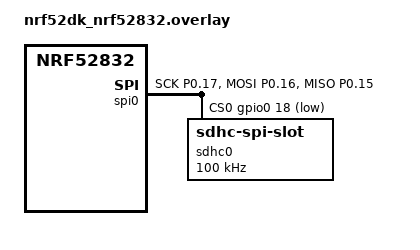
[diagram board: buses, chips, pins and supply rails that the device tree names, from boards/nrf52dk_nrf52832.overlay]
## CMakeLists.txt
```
# SPDX-License-Identifier: Apache-2.0

cmake_minimum_required(VERSION 3.20.0)

find_package(Zephyr REQUIRED HINTS $ENV{ZEPHYR_BASE})
project(sd_card_omi)

# Add source files
target_sources(app PRIVATE
    src/main.c
    src/sd_card.c
)

# Include directories
target_include_directories(app PRIVATE
    src
)
```

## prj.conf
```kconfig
# Logging Configuration
CONFIG_LOG=y
CONFIG_LOG_DEFAULT_LEVEL=3
CONFIG_LOG_BACKEND_UART=y

# Console and Shell Configuration
CONFIG_CONSOLE=y
CONFIG_UART_CONSOLE=y
CONFIG_SHELL=y
CONFIG_KERNEL_SHELL=y

# SPI Configuration for SD Card
CONFIG_SPI=y
CONFIG_SPI_NRFX=y
CONFIG_SOC_NRF52832_ALLOW_SPIM_DESPITE_PAN_58=y

# GPIO Configuration
CONFIG_GPIO=y
CONFIG_GPIO_NRFX=y

# Disk Access and SD Card Support
CONFIG_DISK_ACCESS=y
CONFIG_DISK_DRIVER_SDMMC=y

# FAT Filesystem Configuration
CONFIG_FAT_FILESYSTEM_ELM=y
CONFIG_FS_FATFS_LFN=y
CONFIG_FS_FATFS_MAX_LFN=255
CONFIG_FILE_SYSTEM=y
CONFIG_FILE_SYSTEM_SHELL=y

# SDHC Configuration
CONFIG_SDHC=y

# Memory Configuration
CONFIG_HEAP_MEM_POOL_SIZE=8192
CONFIG_MAIN_STACK_SIZE=2048

# Sample Configuration
CONFIG_FS_SAMPLE_CREATE_SOME_ENTRIES=y
```

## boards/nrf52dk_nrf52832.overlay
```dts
/*
 * Device Tree Overlay for nRF52832 with Generic MicroSD Module
 * Ultra-conservative configuration to avoid PAN 58 issues
 * 
 * nRF52832 uses:
 * - SPI0 with ultra-low frequency
 * - CS pin (P0.18) controls SD card enable/disable
 */

/* SPI0 Configuration for Generic MicroSD Module - nRF52832 Configuration */
&spi0 {
    compatible = "nordic,nrf-spim";
    status = "okay";
    pinctrl-0 = <&spi0_default>;
    pinctrl-1 = <&spi0_sleep>;
    pinctrl-names = "default", "sleep";
    cs-gpios = <&gpio0 18 GPIO_ACTIVE_LOW>;  /* P0.18 - CS pin */

    /* SD Card SPI Device - nRF52832 Configuration */
    sdhc0: sdhc@0 {
        compatible = "zephyr,sdhc-spi-slot";
        reg = <0>;
        status = "okay";
        spi-max-frequency = <100000>;         /* 100kHz SPI frequency - ultra-conservative for nRF52832 */
        
        /* SD Card Disk */
        mmc {
            compatible = "zephyr,sdmmc-disk";
            disk-name = "SD";
            status = "okay";
        };
    };
};

/* Pin Control Configuration - nRF52832 SPI0 Configuration */
&pinctrl {
    /* SPI0 Default Configuration - nRF52832 pins */
    spi0_default: spi0_default {
        group1 {
            psels = <NRF_PSEL(SPIM_SCK, 0, 17)>,    /* P0.17 (SCK) */
                    <NRF_PSEL(SPIM_MOSI, 0, 16)>,   /* P0.16 (MOSI) */
                    <NRF_PSEL(SPIM_MISO, 0, 15)>;   /* P0.15 (MISO) */
        };
    };

    /* SPI0 Sleep Configuration - nRF52832 pins */
    spi0_sleep: spi0_sleep {
        group1 {
            psels = <NRF_PSEL(SPIM_SCK, 0, 17)>,
                    <NRF_PSEL(SPIM_MOSI, 0, 16)>,
                    <NRF_PSEL(SPIM_MISO, 0, 15)>;
            low-power-enable;
        };
    };
};
```

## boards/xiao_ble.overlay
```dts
/*
 * Device Tree Overlay for XIAO BLE with Generic MicroSD Module
 * XIAO BLE Hardware Configuration - Only Real Connections
 * 
 * XIAO BLE uses:
 * - SPI0 for SD card communication
 * - CS pin (P0.06) controls SD card enable/disable automatically
 * - No separate enable pin needed (SD modules don't have enable pins)
 */

/* SPI0 Configuration for Generic MicroSD Module - XIAO BLE Configuration */
&spi0 {
    compatible = "nordic,nrf-spim";
    status = "okay";
    pinctrl-0 = <&spi0_default>;
    pinctrl-1 = <&spi0_sleep>;
    pinctrl-names = "default", "sleep";
    cs-gpios = <&gpio0 6 GPIO_ACTIVE_LOW>;  /* P0.06 (A6) - CS pin controls enable/disable */

    /* SD Card SPI Device - XIAO BLE Configuration */
    sdhc0: sdhc@0 {
        compatible = "zephyr,sdhc-spi-slot";
        reg = <0>;
        status = "okay";
        spi-max-frequency = <24000000>;       /* 24MHz SPI frequency */
        
        /* SD Card Disk */
        mmc {
            compatible = "zephyr,sdmmc-disk";
            disk-name = "SD";
            status = "okay";
        };
    };
};

/* Pin Control Configuration - XIAO BLE SPI0 Configuration */
&pinctrl {
    /* SPI0 Default Configuration - XIAO BLE pins */
    spi0_default: spi0_default {
        group1 {
            psels = <NRF_PSEL(SPIM_SCK, 0, 27)>,    /* P0.27 (SCK) */
                    <NRF_PSEL(SPIM_MOSI, 0, 26)>,   /* P0.26 (MOSI) */
                    <NRF_PSEL(SPIM_MISO, 0, 25)>;   /* P0.25 (MISO) */
        };
    };

    /* SPI0 Sleep Configuration - XIAO BLE pins */
    spi0_sleep: spi0_sleep {
        group1 {
            psels = <NRF_PSEL(SPIM_SCK, 0, 27)>,
                    <NRF_PSEL(SPIM_MOSI, 0, 26)>,
                    <NRF_PSEL(SPIM_MISO, 0, 25)>;
            low-power-enable;
        };
    };
};
```

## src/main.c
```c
/*
 * SD Card Application for OMI Triangle v2
 * XIAO BLE (nRF52840) with Generic MicroSD Module
 *
 * This application demonstrates SD card functionality for the OMI Triangle v2
 * hardware adaptation, replacing the original Adafruit SD card with a generic
 * MicroSD module while maintaining all original OMI functionalities.
 */

#include <zephyr/kernel.h>
#include <zephyr/logging/log.h>
#include <zephyr/shell/shell.h>
#include <string.h>
#include <stdio.h>

#include "sd_card.h"

LOG_MODULE_REGISTER(main, CONFIG_LOG_DEFAULT_LEVEL);

/* Test data for file operations */
static const char *test_files[] = {
    "omi_config.txt",
    "audio_sample.wav",
    "transcription.txt",
    "system_log.txt"
};

static const char *test_contents[] = {
    "OMI Triangle v2 Configuration\nVersion: 2.0\nSD Card: Generic MicroSD\nAudio: PAM8403 PWM",
    "WAV audio sample data for testing PAM8403 amplifier",
    "Transcribed conversation data from OMI microphone",
    "System log entries for debugging and monitoring"
};

/* Shell Commands */

static int cmd_sd_init(const struct shell *shell, size_t argc, const char **argv)
{
    ARG_UNUSED(argc);
    ARG_UNUSED(argv);
    
    int ret = sd_card_start();
    if (ret == 0) {
        shell_print(shell, "SD card initialized and mounted successfully");
    } else {
        shell_error(shell, "SD card initialization failed: %d", ret);
    }
    return ret;
}

static int cmd_sd_stop(const struct shell *shell, size_t argc, const char **argv)
{
    ARG_UNUSED(argc);
    ARG_UNUSED(argv);
    
    int ret = sd_card_stop();
    if (ret == 0) {
        shell_print(shell, "SD card stopped successfully");
    } else {
        shell_error(shell, "SD card stop failed: %d", ret);
    }
    return ret;
}

static int cmd_sd_status(const struct shell *shell, size_t argc, const char **argv)
{
    ARG_UNUSED(argc);
    ARG_UNUSED(argv);
    
    sd_card_state_t state = sd_card_get_state();
    const char *state_str;
    
    switch (state) {
        case SD_CARD_UNINITIALIZED:
            state_str = "UNINITIALIZED";
            break;
        case SD_CARD_INITIALIZED:
            state_str = "INITIALIZED";
            break;
        case SD_CARD_MOUNTED:
            state_str = "MOUNTED";
            break;
        case SD_CARD_ERROR:
            state_str = "ERROR";
            break;
        default:
            state_str = "UNKNOWN";
			break;
		}

    shell_print(shell, "SD Card State: %s", state_str);
    return 0;
}

static int cmd_sd_info(const struct shell *shell, size_t argc, const char **argv)
{
    ARG_UNUSED(argc);
    ARG_UNUSED(argv);
    
    uint64_t total_size_mb;
    uint32_t free_space_mb;
    
    int ret = sd_card_get_info(&total_size_mb, &free_space_mb);
    if (ret == 0) {
        shell_print(shell, "SD Card Information:");
        shell_print(shell, "  Total Size: %u MB", (uint32_t)total_size_mb);
        shell_print(shell, "  Free Space: %u MB", free_space_mb);
    } else {
        shell_error(shell, "Failed to get SD card info: %d", ret);
    }
    return ret;
}

static int cmd_sd_list(const struct shell *shell, size_t argc, const char **argv)
{
    ARG_UNUSED(argc);
    ARG_UNUSED(argv);
    
    shell_print(shell, "Listing SD card contents:");
    int ret = sd_card_list_files("/SD:");
    if (ret >= 0) {
        shell_print(shell, "Found %d entries", ret);
    } else {
        shell_error(shell, "Failed to list files: %d", ret);
    }
    return ret;
}

static int cmd_sd_test(const struct shell *shell, size_t argc, const char **argv)
{
    ARG_UNUSED(argc);
    ARG_UNUSED(argv);
    
    shell_print(shell, "Running SD card comprehensive tests...");
    int ret = sd_card_run_tests();
    if (ret == 0) {
        shell_print(shell, "All SD card tests passed!");
    } else {
        shell_error(shell, "SD card tests failed: %d", ret);
    }
    return ret;
}

static int cmd_sd_create(const struct shell *shell, size_t argc, const char **argv)
{
    if (argc != 3) {
        shell_error(shell, "Usage: sd_create <filename> <content>");
        return -EINVAL;
    }
    
    const char *filename = argv[1];
    const char *content = argv[2];
    
    int ret = sd_card_create_file(filename, content);
    if (ret == 0) {
        shell_print(shell, "File '%s' created successfully", filename);
    } else {
        shell_error(shell, "Failed to create file '%s': %d", filename, ret);
    }
    return ret;
}

static int cmd_sd_read(const struct shell *shell, size_t argc, const char **argv)
{
    if (argc != 2) {
        shell_error(shell, "Usage: sd_read <filename>");
        return -EINVAL;
    }
    
    const char *filename = argv[1];
    char buffer[512];
    
    int ret = sd_card_read_file(filename, buffer, sizeof(buffer));
    if (ret >= 0) {
        shell_print(shell, "File '%s' content (%d bytes):", filename, ret);
        shell_print(shell, "%s", buffer);
    } else {
        shell_error(shell, "Failed to read file '%s': %d", filename, ret);
    }
    return ret;
}

static int cmd_sd_delete(const struct shell *shell, size_t argc, const char **argv)
{
    if (argc != 2) {
        shell_error(shell, "Usage: sd_delete <filename>");
        return -EINVAL;
    }
    
    const char *filename = argv[1];
    
    int ret = sd_card_delete_file(filename);
    if (ret == 0) {
        shell_print(shell, "File '%s' deleted successfully", filename);
    } else {
        shell_error(shell, "Failed to delete file '%s': %d", filename, ret);
    }
    return ret;
}

static int cmd_sd_demo(const struct shell *shell, size_t argc, const char **argv)
{
    ARG_UNUSED(argc);
    ARG_UNUSED(argv);
    
    shell_print(shell, "Running SD card demo...");
    
    // Create test files
    for (int i = 0; i < 4; i++) {
        int ret = sd_card_create_file(test_files[i], test_contents[i]);
        if (ret == 0) {
            shell_print(shell, "Created file: %s", test_files[i]);
        } else {
            shell_error(shell, "Failed to create file %s: %d", test_files[i], ret);
        }
    }
    
    // List files
    shell_print(shell, "Listing files after creation:");
    sd_card_list_files("/SD:");
    
    // Read one file
    char buffer[256];
    int ret = sd_card_read_file(test_files[0], buffer, sizeof(buffer));
    if (ret >= 0) {
        shell_print(shell, "Read file %s (%d bytes):", test_files[0], ret);
        shell_print(shell, "%s", buffer);
    }
    
    shell_print(shell, "SD card demo completed");
    return 0;
}

/* Shell Command Registration */
SHELL_STATIC_SUBCMD_SET_CREATE(sd_cmd,
    SHELL_CMD(init, NULL, "Initialize and mount SD card", cmd_sd_init),
    SHELL_CMD(stop, NULL, "Stop and unmount SD card", cmd_sd_stop),
    SHELL_CMD(status, NULL, "Get SD card status", cmd_sd_status),
    SHELL_CMD(info, NULL, "Get SD card information", cmd_sd_info),
    SHELL_CMD(list, NULL, "List files on SD card", cmd_sd_list),
    SHELL_CMD(test, NULL, "Run comprehensive SD card tests", cmd_sd_test),
    SHELL_CMD(create, NULL, "Create a file with content", cmd_sd_create),
    SHELL_CMD(read, NULL, "Read file content", cmd_sd_read),
    SHELL_CMD(delete, NULL, "Delete a file", cmd_sd_delete),
    SHELL_CMD(demo, NULL, "Run SD card demo", cmd_sd_demo),
    SHELL_SUBCMD_SET_END
);

SHELL_CMD_REGISTER(sd, &sd_cmd, "SD card commands", NULL);

/* Main Application */
int main(void)
{
    LOG_INF("SD Card Application for OMI Triangle v2");
    LOG_INF("XIAO BLE (nRF52840) with Generic MicroSD Module");
    LOG_INF("Initializing...");

    /* Initialize SD card */
    int ret = sd_card_start();
    if (ret != 0) {
        LOG_ERR("Failed to initialize SD card: %d", ret);
        LOG_ERR("Please check hardware connections and try again");
        LOG_ERR("Use 'sd init' command to retry initialization");
    } else {
        LOG_INF("SD card initialized successfully");
        
        /* Run initial tests */
        LOG_INF("Running initial SD card tests...");
        ret = sd_card_run_tests();
        if (ret == 0) {
            LOG_INF("SD card tests passed - system ready");
		} else {
            LOG_WRN("SD card tests failed: %d", ret);
        }
    }

    LOG_INF("SD Card Application started");
    LOG_INF("Available commands:");
    LOG_INF("  sd init    - Initialize SD card");
    LOG_INF("  sd status  - Get SD card status");
    LOG_INF("  sd info    - Get SD card information");
    LOG_INF("  sd list    - List files");
    LOG_INF("  sd test    - Run comprehensive tests");
    LOG_INF("  sd demo    - Run demonstration");
    LOG_INF("  sd create  - Create a file");
    LOG_INF("  sd read    - Read a file");
    LOG_INF("  sd delete  - Delete a file");
    LOG_INF("  sd stop    - Stop SD card");

    /* Main loop */
    while (1) {
        k_sleep(K_MSEC(5000));
        
        /* Periodic status check */
        sd_card_state_t state = sd_card_get_state();
        if (state == SD_CARD_ERROR) {
            LOG_WRN("SD card in error state - use 'sd init' to retry");
        }
    }

    return 0;
}
```

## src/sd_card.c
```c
/*
 * Enhanced SD Card Driver for OMI Triangle v2
 * Based on OMI's implementation with improved reliability and testing
 * Uses only real connections: SPI0 + CS pin (P0.06) - no separate enable pin needed
 */

#include <ff.h>
#include <zephyr/kernel.h>
#include <zephyr/device.h>
#include <zephyr/storage/disk_access.h>
#include <zephyr/logging/log.h>
#include <zephyr/fs/fs.h>
#include <zephyr/drivers/gpio.h>
#include <string.h>
#include <stdio.h>

LOG_MODULE_REGISTER(sd_card, CONFIG_LOG_DEFAULT_LEVEL);

/* SD Card Configuration - OMI Compatible */
#define SD_DISK_NAME "SD"
#define SD_MOUNT_PT "/SD:"
#define AUDIO_DIR "/SD:/audio"
#define MAX_PATH 128
#define MAX_FILE_SIZE 1024*1024  // 1MB max file size

/* OMI Audio File Configuration */
#define MAX_AUDIO_FILES 99
#define AUDIO_FILE_PREFIX "a"
#define AUDIO_FILE_EXTENSION ".txt"
#define AUDIO_FILE_NAME_LEN 8  // "a01.txt" = 7 chars + null

/* SD Card States */
typedef enum {
    SD_CARD_UNINITIALIZED,
    SD_CARD_INITIALIZED,
    SD_CARD_MOUNTED,
    SD_CARD_ERROR
} sd_card_state_t;

static sd_card_state_t sd_card_state = SD_CARD_UNINITIALIZED;
static struct fs_mount_t mp;
static FATFS fat_fs;

/* OMI Audio File Management */
static uint8_t file_count = 0;
static uint8_t current_read_file = 1;
static uint8_t current_write_file = 1;
static uint32_t file_num_array[2];

/* File Path Buffers */
static char current_full_path[MAX_PATH];
static char read_buffer[MAX_PATH];
static char write_buffer[MAX_PATH];

/* Function Declarations */
static int sd_card_init(void);
static int sd_card_mount(void);
static int sd_card_unmount(void);
static int sd_card_test_read_write(void);
int sd_card_list_files(const char *path);
int sd_card_create_file(const char *filename, const char *content);
int sd_card_read_file(const char *filename, char *buffer, size_t buffer_size);
int sd_card_delete_file(const char *filename);
int sd_card_get_info(uint64_t *total_size_mb, uint32_t *free_space_mb);

/* OMI Audio File Functions */
static char* generate_new_audio_header(uint8_t num);
static int get_file_contents(struct fs_dir_t *zdp, struct fs_dirent *entry);
static int initialize_audio_file(uint8_t num);
static int move_read_pointer(uint8_t num);
static int move_write_pointer(uint8_t num);
static int clear_audio_file(uint8_t num);
static int delete_audio_file(uint8_t num);
static int clear_audio_directory(void);
static int save_offset(uint32_t offset);
static int get_offset(void);

/**
 * @brief Initialize SD card with OMI's approach
 * @return 0 on success, negative error code on failure
 */
static int sd_card_init(void)
{
    int ret;
    const char *disk_pdrv = SD_DISK_NAME;
    uint64_t memory_size_mb;
    uint32_t block_count;
    uint32_t block_size;

    LOG_INF("Initializing SD card (OMI compatible)...");

    /* Initialize disk access (OMI's approach with retry) */
    ret = disk_access_init(disk_pdrv);
    if (ret != 0) {
        LOG_ERR("SD card init failed: %d", ret);
        /* OMI retry approach */
        k_msleep(1000);
        ret = disk_access_init(disk_pdrv);
        if (ret != 0) {
            LOG_ERR("SD card init retry failed: %d", ret);
            sd_card_state = SD_CARD_ERROR;
            return ret;
        }
    }

    /* Get disk information */
    ret = disk_access_ioctl(disk_pdrv, DISK_IOCTL_GET_SECTOR_COUNT, &block_count);
    if (ret != 0) {
        LOG_ERR("Failed to get sector count: %d", ret);
        return ret;
    }

    ret = disk_access_ioctl(disk_pdrv, DISK_IOCTL_GET_SECTOR_SIZE, &block_size);
    if (ret != 0) {
        LOG_ERR("Failed to get sector size: %d", ret);
        return ret;
    }

    memory_size_mb = (uint64_t)block_count * block_size;
    LOG_INF("SD Card Info:");
    LOG_INF("  Block count: %u", block_count);
    LOG_INF("  Block size: %u bytes", block_size);
    LOG_INF("  Total size: %u MB", (uint32_t)(memory_size_mb >> 20));

    sd_card_state = SD_CARD_INITIALIZED;
    LOG_INF("SD card initialized successfully");
    return 0;
}

/**
 * @brief Mount SD card filesystem (OMI compatible)
 * @return 0 on success, negative error code on failure
 */
static int sd_card_mount(void)
{
    int ret;

    if (sd_card_state != SD_CARD_INITIALIZED) {
        LOG_ERR("SD card not initialized");
        return -ENODEV;
    }

    LOG_INF("Mounting SD card filesystem...");

    /* Configure mount point (OMI's approach) */
    mp.type = FS_FATFS;
    mp.fs_data = &fat_fs;
    mp.mnt_point = SD_MOUNT_PT;

    /* Mount filesystem */
    ret = fs_mount(&mp);
    if (ret != 0) {
        LOG_ERR("Failed to mount SD card: %d", ret);
        sd_card_state = SD_CARD_ERROR;
        return ret;
    }

    sd_card_state = SD_CARD_MOUNTED;
    LOG_INF("SD card mounted successfully at %s", SD_MOUNT_PT);

    /* Create audio directory (OMI's approach) */
    ret = fs_mkdir(AUDIO_DIR);
    if (ret == 0) {
        LOG_INF("Audio directory created successfully");
        initialize_audio_file(1);
    } else if (ret == -EEXIST) {
        LOG_INF("Audio directory already exists");
    } else {
        LOG_INF("Audio directory creation failed: %d", ret);
    }

    /* Initialize file management (OMI's approach) */
    struct fs_dir_t audio_dir_entry;
    fs_dir_t_init(&audio_dir_entry);
    ret = fs_opendir(&audio_dir_entry, AUDIO_DIR);
    if (ret != 0) {
        LOG_ERR("Error opening audio directory: %d", ret);
        return ret;
    }

    struct fs_dirent file_count_entry;
    file_count = get_file_contents(&audio_dir_entry, &file_count_entry);
    file_count = 1;  // OMI default
    if (file_count < 0) {
        LOG_ERR("Error getting file count");
        return -1;
    }

    fs_closedir(&audio_dir_entry);
    LOG_INF("Audio files found: %d", file_count);

    /* Set initial pointers (OMI's approach) */
    ret = move_write_pointer(file_count);
    if (ret != 0) {
        LOG_ERR("Error moving write pointer");
        return ret;
    }

    move_read_pointer(file_count);

    return 0;
}

/**
 * @brief Unmount SD card filesystem
 * @return 0 on success, negative error code on failure
 */
static int sd_card_unmount(void)
{
    int ret;

    if (sd_card_state != SD_CARD_MOUNTED) {
        LOG_WRN("SD card not mounted");
        return 0;
    }

    LOG_INF("Unmounting SD card filesystem...");

    ret = fs_unmount(&mp);
    if (ret != 0) {
        LOG_ERR("Failed to unmount SD card: %d", ret);
        return ret;
    }

    sd_card_state = SD_CARD_INITIALIZED;
    LOG_INF("SD card unmounted successfully");
    return 0;
}

/**
 * @brief Generate audio file header (OMI's approach)
 * @param num File number
 * @return Pointer to generated header string (must be freed by caller)
 */
static char* generate_new_audio_header(uint8_t num)
{
    if (num > 99) return NULL;
    char *ptr_ = k_malloc(14);
    ptr_[0] = 'a';
    ptr_[1] = 'u';
    ptr_[2] = 'd';
    ptr_[3] = 'i';
    ptr_[4] = 'o';
    ptr_[5] = '/';
    ptr_[6] = 'a';
    ptr_[7] = 48 + (num / 10);
    ptr_[8] = 48 + (num % 10);
    ptr_[9] = '.';
    ptr_[10] = 't';
    ptr_[11] = 'x';
    ptr_[12] = 't';
    ptr_[13] = '\0';

    return ptr_;
}



/**
 * @brief Get file contents count (OMI's approach)
 * @param dirp Directory pointer
 * @param entry Directory entry
 * @return Number of files
 */
static int get_file_contents(struct fs_dir_t *zdp, struct fs_dirent *entry)
{
    int ret = fs_readdir(zdp, entry);
    if (ret != 0) {
        return -1;
    }
    if (entry->name[0] == 0) {
        return 0;
    }
    int count = 0;  
    file_num_array[count] = entry->size;
    LOG_INF("file numarray %d %d ", count, file_num_array[count]);
    LOG_INF("file name is %s ", entry->name);
    count++;
    while (fs_readdir(zdp, entry) == 0) {
        if (entry->name[0] == 0) {
            break;
        }
        file_num_array[count] = entry->size;
        LOG_INF("file numarray %d %d ", count, file_num_array[count]);
        LOG_INF("file name is %s ", entry->name);
        count++;
    }
    return count;
}

/* Standard SD Card Functions */
int sd_card_list_files(const char *path)
{
    int ret;
    struct fs_dir_t dirp;
    static struct fs_dirent entry;
    int count = 0;

    if (sd_card_state != SD_CARD_MOUNTED) {
        LOG_ERR("SD card not mounted");
        return -ENODEV;
    }

    fs_dir_t_init(&dirp);

    ret = fs_opendir(&dirp, path);
    if (ret != 0) {
        LOG_ERR("Failed to open directory %s: %d", path, ret);
        return ret;
    }

    LOG_INF("Listing directory: %s", path);
    for (;;) {
        ret = fs_readdir(&dirp, &entry);
        if (ret != 0 || entry.name[0] == 0) {
            break;
        }

        if (entry.type == FS_DIR_ENTRY_DIR) {
            LOG_INF("[DIR ] %s", entry.name);
        } else {
            LOG_INF("[FILE] %s (size = %zu bytes)", entry.name, entry.size);
        }
        count++;
    }

    fs_closedir(&dirp);
    LOG_INF("Total entries: %d", count);
    return count;
}

int sd_card_create_file(const char *filename, const char *content)
{
    int ret;
    struct fs_file_t file;
    char filepath[MAX_PATH];

    if (sd_card_state != SD_CARD_MOUNTED) {
        LOG_ERR("SD card not mounted");
        return -ENODEV;
    }

    snprintf(filepath, sizeof(filepath), "%s/%s", SD_MOUNT_PT, filename);
    fs_file_t_init(&file);

    ret = fs_open(&file, filepath, FS_O_CREATE | FS_O_WRITE);
    if (ret != 0) {
        LOG_ERR("Failed to create file %s: %d", filepath, ret);
        return ret;
    }

    if (content != NULL) {
        ret = fs_write(&file, content, strlen(content));
        if (ret < 0) {
            LOG_ERR("Failed to write to file %s: %d", filepath, ret);
            fs_close(&file);
            return ret;
        }
        LOG_INF("Wrote %d bytes to file %s", ret, filename);
    }

    fs_close(&file);
    LOG_INF("File %s created successfully", filename);
    return 0;
}

int sd_card_read_file(const char *filename, char *buffer, size_t buffer_size)
{
    int ret;
    struct fs_file_t file;
    char filepath[MAX_PATH];

    if (sd_card_state != SD_CARD_MOUNTED) {
        LOG_ERR("SD card not mounted");
        return -ENODEV;
    }

    snprintf(filepath, sizeof(filepath), "%s/%s", SD_MOUNT_PT, filename);
    fs_file_t_init(&file);

    ret = fs_open(&file, filepath, FS_O_READ);
    if (ret != 0) {
        LOG_ERR("Failed to open file %s: %d", filepath, ret);
        return ret;
    }

    ret = fs_read(&file, buffer, buffer_size - 1);
    if (ret < 0) {
        LOG_ERR("Failed to read file %s: %d", filepath, ret);
        fs_close(&file);
        return ret;
    }

    buffer[ret] = '\0';  // Null terminate
    fs_close(&file);
    LOG_INF("Read %d bytes from file %s", ret, filename);
    return ret;
}



int sd_card_delete_file(const char *filename)
{
    int ret;
    char filepath[MAX_PATH];

    if (sd_card_state != SD_CARD_MOUNTED) {
        LOG_ERR("SD card not mounted");
        return -ENODEV;
    }

    snprintf(filepath, sizeof(filepath), "%s/%s", SD_MOUNT_PT, filename);

    ret = fs_unlink(filepath);
    if (ret != 0) {
        LOG_ERR("Failed to delete file %s: %d", filepath, ret);
        return ret;
    }

    LOG_INF("File %s deleted successfully", filename);
    return 0;
}

int sd_card_get_info(uint64_t *total_size_mb, uint32_t *free_space_mb)
{
    int ret;
    const char *disk_pdrv = SD_DISK_NAME;
    uint64_t memory_size_mb;
    uint32_t block_count;
    uint32_t block_size;

    if (sd_card_state == SD_CARD_UNINITIALIZED) {
        LOG_ERR("SD card not initialized");
        return -ENODEV;
    }

    ret = disk_access_ioctl(disk_pdrv, DISK_IOCTL_GET_SECTOR_COUNT, &block_count);
    if (ret != 0) {
        LOG_ERR("Failed to get sector count: %d", ret);
        return ret;
    }

    ret = disk_access_ioctl(disk_pdrv, DISK_IOCTL_GET_SECTOR_SIZE, &block_size);
    if (ret != 0) {
        LOG_ERR("Failed to get sector size: %d", ret);
        return ret;
    }

    memory_size_mb = (uint64_t)block_count * block_size;
    *total_size_mb = memory_size_mb >> 20;
    *free_space_mb = (uint32_t)(memory_size_mb >> 20);

    return 0;
}

static int sd_card_test_read_write(void)
{
    int ret;
    const char *test_filename = "test.txt";
    const char *test_content = "Hello from OMI Triangle v2 SD Card!";
    char read_buffer[256];

    LOG_INF("Starting SD card read/write test...");

    ret = sd_card_create_file(test_filename, test_content);
    if (ret != 0) {
        LOG_ERR("File creation test failed");
        return ret;
    }

    ret = sd_card_read_file(test_filename, read_buffer, sizeof(read_buffer));
    if (ret < 0) {
        LOG_ERR("File reading test failed");
        return ret;
    }

    if (strcmp(read_buffer, test_content) != 0) {
        LOG_ERR("Content verification failed");
        LOG_ERR("Expected: %s", test_content);
        LOG_ERR("Got: %s", read_buffer);
        return -EIO;
    }

    ret = sd_card_delete_file(test_filename);
    if (ret != 0) {
        LOG_ERR("File deletion test failed");
        return ret;
    }

    LOG_INF("SD card read/write test passed successfully");
    return 0;
}

/* Public API Functions */

int sd_card_start(void)
{
    int ret;

    ret = sd_card_init();
    if (ret != 0) {
        return ret;
    }

    ret = sd_card_mount();
    if (ret != 0) {
        return ret;
    }

    return 0;
}

int sd_card_stop(void)
{
    return sd_card_unmount();
}

sd_card_state_t sd_card_get_state(void)
{
    return sd_card_state;
}

int sd_card_run_tests(void)
{
    int ret;
    uint64_t total_size_mb;
    uint32_t free_space_mb;

    LOG_INF("Running SD card comprehensive tests...");

    ret = sd_card_get_info(&total_size_mb, &free_space_mb);
    if (ret != 0) {
        LOG_ERR("Card info test failed");
        return ret;
    }
    LOG_INF("Card info test passed - Total: %u MB, Free: %u MB", 
            (uint32_t)total_size_mb, free_space_mb);

    ret = sd_card_list_files(SD_MOUNT_PT);
    if (ret < 0) {
        LOG_ERR("Directory listing test failed");
        return ret;
    }
    LOG_INF("Directory listing test passed");

    ret = sd_card_test_read_write();
    if (ret != 0) {
        LOG_ERR("Read/write test failed");
        return ret;
    }

    /* Test OMI audio file functionality */
    ret = initialize_audio_file(2);
    if (ret != 0) {
        LOG_ERR("Audio file initialization test failed");
        return ret;
    }
    LOG_INF("Audio file initialization test passed");

    ret = clear_audio_file(2);
    if (ret != 0) {
        LOG_ERR("Audio file clear test failed");
        return ret;
    }
    LOG_INF("Audio file clear test passed");

    LOG_INF("All SD card tests passed successfully!");
    return 0;
}

/* OMI Compatible Functions */

int mount_sd_card(void)
{
    return sd_card_start();
}

int create_file(const char* file_path)
{
    int ret = 0;
    snprintf(current_full_path, sizeof(current_full_path), "%s%s", SD_MOUNT_PT, file_path);
    struct fs_file_t data_file;
    fs_file_t_init(&data_file);
    ret = fs_open(&data_file, current_full_path, FS_O_WRITE | FS_O_CREATE);
    if (ret) {
        LOG_ERR("File creation failed %d", ret);
        return -2;
    } 
    fs_close(&data_file);
    return 0;
}

int initialize_audio_file(uint8_t num)
{
    char *header = generate_new_audio_header(num);
    if (header == NULL) {
        return -1;
    }
    k_free(header);
    create_file(header);
    return 0;
}

int write_to_file(uint8_t *data, uint32_t length)
{
    struct fs_file_t write_file;
    fs_file_t_init(&write_file);
    uint8_t *write_ptr = data;
    fs_open(&write_file, write_buffer, FS_O_WRITE | FS_O_APPEND);
    fs_write(&write_file, write_ptr, length);
    fs_close(&write_file);
    return 0;
}

int read_audio_data(uint8_t *buf, int amount, int offset)
{
    struct fs_file_t read_file;
    fs_file_t_init(&read_file); 
    uint8_t *temp_ptr = buf;

    int rc = fs_open(&read_file, read_buffer, FS_O_READ | FS_O_RDWR);
    rc = fs_seek(&read_file, offset, FS_SEEK_SET);
    rc = fs_read(&read_file, temp_ptr, amount);
    fs_close(&read_file);

    return rc;
}

uint32_t get_file_size(uint8_t num)
{
    char *ptr = generate_new_audio_header(num);
    snprintf(current_full_path, sizeof(current_full_path), "%s%s", SD_MOUNT_PT, ptr);
    k_free(ptr);
    struct fs_dirent entry;
    int res = fs_stat(current_full_path, &entry);
    if (res) {
        LOG_ERR("invalid file in get file size\n");
        return 0;  
    }
    return (uint32_t)entry.size;
}

int move_read_pointer(uint8_t num)
{
    char *read_ptr = generate_new_audio_header(num);
    snprintf(read_buffer, sizeof(read_buffer), "%s%s", SD_MOUNT_PT, read_ptr);
    k_free(read_ptr);
    struct fs_dirent entry; 
    int res = fs_stat(read_buffer, &entry);
    if (res) {
        LOG_ERR("invalid file in move read ptr\n");
        return -1;  
    }
    current_read_file = num;
    return 0;
}

int move_write_pointer(uint8_t num)
{
    char *write_ptr = generate_new_audio_header(num);
    snprintf(write_buffer, sizeof(write_buffer), "%s%s", SD_MOUNT_PT, write_ptr);
    k_free(write_ptr);
    struct fs_dirent entry;
    int res = fs_stat(write_buffer, &entry);
    if (res) {
        LOG_ERR("invalid file in move write pointer\n");  
        return -1;  
    }
    current_write_file = num;
    return 0;   
}

int clear_audio_file(uint8_t num)
{
    char *clear_header = generate_new_audio_header(num);
    snprintf(current_full_path, sizeof(current_full_path), "%s%s", SD_MOUNT_PT, clear_header);
    k_free(clear_header);
    int res = fs_unlink(current_full_path);
    if (res) {
        LOG_ERR("error deleting file");
        return -1;
    }

    char *create_file_header = generate_new_audio_header(num);
    k_msleep(10);
    res = create_file(create_file_header);
    k_free(create_file_header);
    if (res) {
        LOG_ERR("error creating file");
        return -1;
    }

    return 0;
}

int delete_audio_file(uint8_t num)
{
    char *ptr = generate_new_audio_header(num);
    snprintf(current_full_path, sizeof(current_full_path), "%s%s", SD_MOUNT_PT, ptr);
    k_free(ptr);
    int res = fs_unlink(current_full_path);
    if (res) {
        LOG_ERR("error deleting file in delete\n");
        return -1;
    }

    return 0;
}

int clear_audio_directory()
{
    if (file_count == 1) {
        return 0;
    }
    
    int res = 0;
    for (uint8_t i = file_count; i > 0; i--) {
        res = delete_audio_file(i);
        k_msleep(10);
        if (res) {
            LOG_ERR("error on %d\n", i);
            return -1;
        }  
    }
    
    res = fs_unlink("/SD:/audio");
    if (res) {
        LOG_ERR("error deleting file");
        return -1;
    }
    
    res = fs_mkdir("/SD:/audio");
    if (res) {
        LOG_ERR("failed to make directory");
        return -1;
    }
    
    res = create_file("audio/a01.txt");
    if (res) {
        LOG_ERR("failed to make new file in directory files");
        return -1;
    }
    
    LOG_INF("done with clearing");

    file_count = 1;  
    move_write_pointer(1);
    return 0;
}

int save_offset(uint32_t offset)
{
    uint8_t buf[4] = {
        offset & 0xFF,
        (offset >> 8) & 0xFF,
        (offset >> 16) & 0xFF, 
        (offset >> 24) & 0xFF 
    };

    struct fs_file_t write_file;
    fs_file_t_init(&write_file);
    
    int res = fs_open(&write_file, "/SD:/info.txt", FS_O_WRITE | FS_O_CREATE);
    if (res != 0) {
        LOG_ERR("Error opening info file: %d", res);
        return res;
    }
    
    res = fs_write(&write_file, &buf, 4);
    if (res < 0) {
        LOG_ERR("Error writing info file: %d", res);
        fs_close(&write_file);
        return res;
    }
    
    fs_close(&write_file);
    return 0;
}

int get_offset()
{
    uint8_t buf[4];
    struct fs_file_t read_file;
    fs_file_t_init(&read_file);
    
    int rc = fs_open(&read_file, "/SD:/info.txt", FS_O_READ | FS_O_RDWR);
    if (rc < 0) {
        LOG_ERR("Error opening info file: %d", rc);
        return rc;
    }
    
    rc = fs_seek(&read_file, 0, FS_SEEK_SET);
    if (rc < 0) {
        LOG_ERR("Error seeking info file: %d", rc);
        fs_close(&read_file);
        return rc;
    }
    
    rc = fs_read(&read_file, &buf, 4);
    if (rc < 0) {
        LOG_ERR("Error reading info file: %d", rc);
        fs_close(&read_file);
        return rc;
    }
    
    fs_close(&read_file);
    uint32_t *offset_ptr = (uint32_t*)buf;
    LOG_INF("Get offset is %d", offset_ptr[0]);
    
    return offset_ptr[0];
}

void sd_on()
{
    /* No separate enable pin - CS pin handles enable/disable automatically */
    LOG_INF("SD card enabled via CS pin");
}

void sd_off()
{
    /* No separate enable pin - CS pin handles enable/disable automatically */
    LOG_INF("SD card disabled via CS pin");
}

bool is_sd_on()
{
    return sd_card_state == SD_CARD_MOUNTED;
}
```

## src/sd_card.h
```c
#ifndef SD_CARD_H
#define SD_CARD_H

#include <zephyr/kernel.h>
#include <stdint.h>

/* SD Card States */
typedef enum {
    SD_CARD_UNINITIALIZED,
    SD_CARD_INITIALIZED,
    SD_CARD_MOUNTED,
    SD_CARD_ERROR
} sd_card_state_t;

/* Enhanced Public API Functions */

/**
 * @brief Initialize and mount SD card
 * @return 0 on success, negative error code on failure
 */
int sd_card_start(void);

/**
 * @brief Stop SD card (unmount)
 * @return 0 on success, negative error code on failure
 */
int sd_card_stop(void);

/**
 * @brief Get SD card status
 * @return SD card state
 */
sd_card_state_t sd_card_get_state(void);

/**
 * @brief Run comprehensive SD card tests
 * @return 0 on success, negative error code on failure
 */
int sd_card_run_tests(void);

/* Standard File Operations */

/**
 * @brief Create a file with content
 * @param filename File name to create
 * @param content Content to write to file
 * @return 0 on success, negative error code on failure
 */
int sd_card_create_file(const char *filename, const char *content);

/**
 * @brief Read file content
 * @param filename File name to read
 * @param buffer Buffer to store file content
 * @param buffer_size Size of buffer
 * @return Number of bytes read on success, negative error code on failure
 */
int sd_card_read_file(const char *filename, char *buffer, size_t buffer_size);

/**
 * @brief Write content to file
 * @param filename File name to write
 * @param content Content to write
 * @return 0 on success, negative error code on failure
 */
int sd_card_write_file(const char *filename, const char *content);

/**
 * @brief Delete a file
 * @param filename File name to delete
 * @return 0 on success, negative error code on failure
 */
int sd_card_delete_file(const char *filename);

/**
 * @brief List files in directory
 * @param path Directory path to list
 * @return Number of entries on success, negative error code on failure
 */
int sd_card_list_files(const char *path);

/**
 * @brief Get SD card information
 * @param total_size_mb Pointer to store total size in MB
 * @param free_space_mb Pointer to store free space in MB
 * @return 0 on success, negative error code on failure
 */
int sd_card_get_info(uint64_t *total_size_mb, uint32_t *free_space_mb);

/* OMI Compatible Functions - Direct API Compatibility */

/**
 * @brief Mount the SD Card. Initializes the audio files 
 *
 * Mounts the SD Card and initializes the audio files. If the SD card does not contain those files, the 
 * function will create them.
 * 
 * @return 0 if successful, negative errno code if error
 */
int mount_sd_card(void);

/**
 * @brief Create a file
 *
 * Creates a file at the given path
 * 
 * @return 0 if successful, negative errno code if error
 */
int create_file(const char* file_path);

/**
 * @brief Initialize an audio file of number 1
 *
 * Initializes an audio file. It will be called a nn.txt, where nn is the number of the file.
 *  example: initialize_audio_file(1) will create a file called a01.txt
 * @return 0 if successful, negative errno code if error
 */
int initialize_audio_file(uint8_t num);

/**
 * @brief Write to the current audio file specified by the write pointer
 *
 * @param data Data to write
 * @param length Length of data to write
 * @return number of bytes written
 */
int write_to_file(uint8_t *data, uint32_t length);

/**
 * @brief Read from the current audio file specified by the read pointer
 *
 * @param buf Buffer to store read data
 * @param amount Amount of data to read
 * @param offset Offset in file to read from
 * @return number of bytes read
 */
int read_audio_data(uint8_t *buf, int amount, int offset);

/**
 * @brief Get the size of the specified audio file number
 *
 * @param num File number
 * @return size of the file in bytes
 */
uint32_t get_file_size(uint8_t num);

/**
 * @brief Move the read pointer to the specified audio file position
 *
 * @param num File number
 * @return 0 if successful, negative errno code if error
 */
int move_read_pointer(uint8_t num);

/**
 * @brief Move the write pointer to the specified audio file position
 *
 * @param num File number
 * @return 0 if successful, negative errno code if error
 */
int move_write_pointer(uint8_t num);

/**
 * @brief Clear the specified audio file
 *
 * @param num File number
 * @return 0 if successful, negative errno code if error
 */
int clear_audio_file(uint8_t num);

/**
 * @brief Delete the specified audio file
 *
 * @param num File number
 * @return 0 if successful, negative errno code if error
 */
int delete_audio_file(uint8_t num);

/**
 * @brief Clear the audio directory. 
 *
 * This deletes all audio files and leaves the audio directory with only one file left, a01.txt.
 * This automatically moves the read and write pointers to a01.txt.
 * @return 0 if successful, negative errno code if error
 */
int clear_audio_directory(void);

/**
 * @brief Save offset to info file
 *
 * @param offset Offset to save
 * @return 0 if successful, negative errno code if error
 */
int save_offset(uint32_t offset);

/**
 * @brief Get offset from info file
 *
 * @return Offset value or negative error code
 */
int get_offset(void);

/**
 * @brief Turn on SD card
 */
void sd_on(void);

/**
 * @brief Turn off SD card
 */
void sd_off(void);

/**
 * @brief Check if SD card is on
 *
 * @return true if SD card is mounted, false otherwise
 */
bool is_sd_on(void);

#endif /* SD_CARD_H */
```
